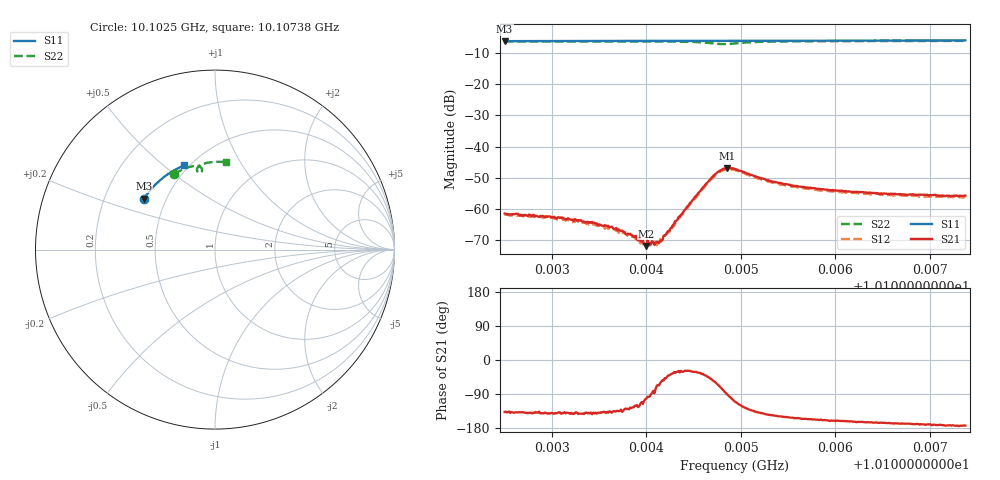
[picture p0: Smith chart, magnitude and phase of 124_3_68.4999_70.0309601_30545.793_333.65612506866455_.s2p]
#  HZ  S  RI  R  50.00
! Rohde & Schwarz Vector Network Analyzer
! Rohde-Schwarz,ZNB20-2Port,1311601062101988,3.16
! Created: UTC 3/20/2024, 4:54:06 PM
! freq[Hz]  re:S11  im:S11  re:S21  im:S21  re:S12  im:S12  re:S22  im:S22
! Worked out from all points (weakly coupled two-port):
!   401 points, 10.1025 GHz to 10.10738 GHz, reference 50 ohm
!   highest |S21| = -46.81 dB at 10.10485 GHz (marker M1); lowest = -71.8 dB at 10.104 GHz (marker M2)
!   lowest |S11| = -6.3 dB at 10.1025 GHz (marker M3), VSWR 2.90, Z = 18.8 + j14 ohm
!   |S11| at or under -10 dB: nowhere
!   |S22| runs from -7.2 to -6.2 dB; largest |S21 - S12| = 0.00048
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1.0102498e10  -0.395 0.2844  -0.000627 -0.000581  -0.000566 -0.000589  -0.2272 0.4219
1.0102986e10  -0.3781 0.3088  -0.000581 -0.000484  -0.000518 -0.000511  -0.1989 0.4372
1.0103315e10  -0.3658 0.3247  -0.000508 -0.000399  -0.000458 -0.00042  -0.1788 0.4469
1.010345e10  -0.3607 0.331  -0.000471 -0.000384  -0.000422 -0.00039  -0.1704 0.4504
1.0103657e10  -0.3524 0.3405  -0.000344 -0.000345  -0.000309 -0.000362  -0.157 0.4558
1.0103865e10  -0.344 0.35  -0.000206 -0.0003  -0.000182 -0.000329  -0.1427 0.4603
1.0103938e10  -0.341 0.3531  -0.000131 -0.00028  -0.0001 -0.000267  -0.1375 0.4618
1.0103999e10  -0.3385 0.3559  -5.28e-05 -0.000253  -2.92e-05 -0.000255  -0.1331 0.463
1.010406e10  -0.3359 0.3585  1.35e-05 -0.000308  4.81e-05 -0.000274  -0.1286 0.4641
1.0104109e10  -0.3338 0.3606  0.00011 -0.00028  0.000124 -0.000235  -0.1247 0.4647
1.0104133e10  -0.3327 0.3619  0.000111 -0.000264  0.000156 -0.000234  -0.1226 0.4653
1.0104182e10  -0.3307 0.3638  0.000222 -0.000307  0.000242 -0.000254  -0.1188 0.4658
1.0104438e10  -0.3194 0.3748  0.000989 -0.000531  0.000981 -0.000432  -0.0951 0.4657
1.0104658e10  -0.3093 0.3834  0.00196 -0.00199  0.00206 -0.00175  -0.0733 0.4505
1.0104755e10  -0.3049 0.3872  0.00169 -0.00355  0.00188 -0.00325  -0.074 0.4351
1.0104853e10  -0.3006 0.3909  1.54e-05 -0.00457  0.000405 -0.00436  -0.089 0.4287
1.0104938e10  -0.2966 0.3942  -0.00149 -0.00415  -0.00107 -0.0041  -0.0994 0.4374
1.010517e10  -0.2859 0.4031  -0.00242 -0.00223  -0.0021 -0.00232  -0.0914 0.4638
1.0105341e10  -0.2776 0.4092  -0.00229 -0.00154  -0.00207 -0.00167  -0.0778 0.473
1.0105756e10  -0.257 0.4238  -0.00198 -0.000842  -0.00183 -0.001  -0.0467 0.4828
1.0106573e10  -0.2143 0.4492  -0.00169 -0.000416  -0.00163 -0.000544  0.00943 0.4889
1.0107378e10  -0.17 0.4694  -0.00164 -0.000202  -0.00152 -0.000315  0.062 0.4873
